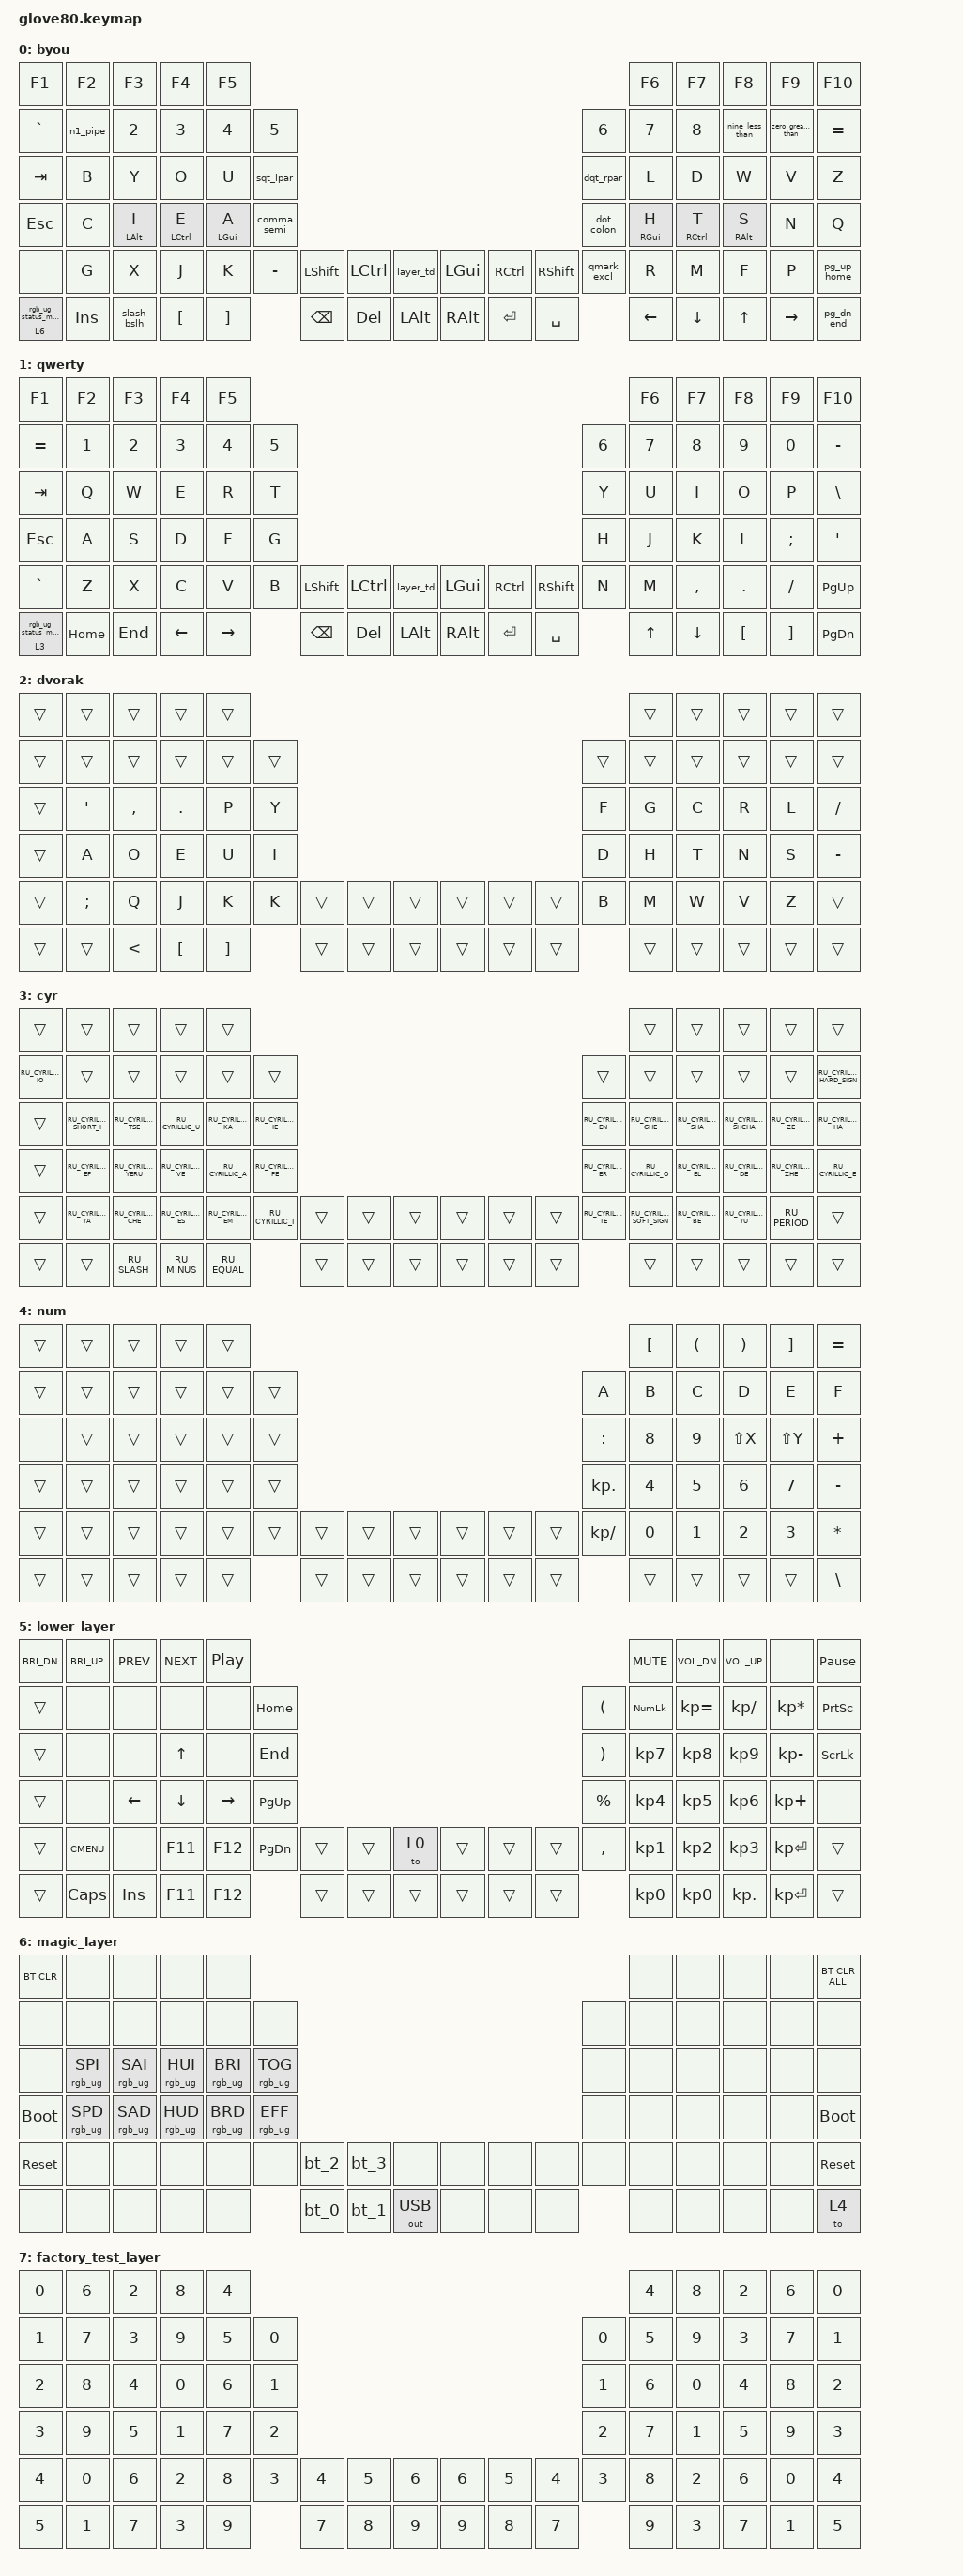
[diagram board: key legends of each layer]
/*
 * Copyright (c) 2020 The ZMK Contributors
 *
 * SPDX-License-Identifier: MIT
 */

#include <behaviors.dtsi>
#include <dt-bindings/zmk/bt.h>
#include <dt-bindings/zmk/keys.h>
#include <dt-bindings/zmk/outputs.h>
#include <dt-bindings/zmk/rgb.h>
#include "zmk-helpers/helper.h"

#include <behaviors/num_word.dtsi>
// Source desired key-position labels
#include "zmk-helpers/key-labels/glove80.h"
// Source unicode-chars for currency and desired languages
#include "zmk-helpers/unicode-chars/currency.dtsi"
#include "zmk-helpers/unicode-chars/german.dtsi"
#include "keys_ru.h"
#include "zmk-helpers/unicode-chars/swedish.dtsi"

#define HYPER LC(LS(LG(LALT)))

// layers

#define BYOU 0
#define QWERTY 1
#define DVORAK 2
#define CYR 3
#define NUM 4
#define LOWER 5
#define MAGIC 6
#define FACTORY_TEST 7

/ {
    behaviors {
        // Define auto-layer for layer CYR (example: NUM layer)
        lang_word: auto_layer {
          compatible = "zmk,behavior-auto-layer";
          #binding-cells = <1>;
          continue-list = <LEFT DOWN UP RIGHT PG_DN PG_UP>;
          ignore-modifiers;
        };

        // Step 1: Tap-Dance for Single vs Double Tap
        td_layers: tap_dance_layers {
            compatible = "zmk,behavior-tap-dance";
            #binding-cells = <0>;
            tapping-term-ms = <200>;
            bindings = <&tog CYR>, <&lang_word>; // 1: Toggle, 2: Auto-Layer
        };

        // Step 2: Hold-Tap to wrap everything
        layer: combined_behavior {
            compatible = "zmk,behavior-hold-tap";
            #binding-cells = <2>;
            flavor = "tap-preferred";
            tapping-term-ms = <200>;
            bindings = <&num_word>, <&td_layers>; // Hold: Num Word, Tap: Tap-Dance
        };

        // For the "layer" key, it'd nice to be able to use it as either a shift or a toggle.
        // Configure it as a tap dance, so the first tap (or hold) is a &mo and the second tap is a &to
        layer_td: tap_dance_0 {
            compatible = "zmk,behavior-tap-dance";
            label = "LAYER_TAP_DANCE";
            #binding-cells = <0>;
            tapping-term-ms = <200>;
            bindings = <&mo LOWER>, <&to LOWER>;
        };

        magic: magic_hold_tap {
            compatible = "zmk,behavior-hold-tap";
            label = "MAGIC_HOLD_TAP";
            #binding-cells = <2>;
            flavor = "tap-preferred";
            tapping-term-ms = <200>;
            bindings = <&mo>, <&rgb_ug_status_macro>;
        };

        n1_pipe: n1_pipe {
            compatible = "zmk,behavior-mod-morph";
            label = "N1_PIPE";
            bindings = <&kp N1>, <&kp PIPE>;

            #binding-cells = <0>;
            mods = <(MOD_LSFT|MOD_RSFT)>;
        };

        sqt_lpar: sqt_lpar {
            compatible = "zmk,behavior-mod-morph";
            label = "SQT_LPAR";
            bindings = <&kp SQT>, <&kp LPAR>;

            #binding-cells = <0>;
            mods = <(MOD_LSFT|MOD_RSFT)>;
        };

        comma_semi: comma_semi {
            compatible = "zmk,behavior-mod-morph";
            label = "COMMA_SEMI";
            bindings = <&kp COMMA>, <&kp SEMI>;

            #binding-cells = <0>;
            mods = <(MOD_LSFT|MOD_RSFT)>;
        };

        slash_bslh: slash_bslh {
            compatible = "zmk,behavior-mod-morph";
            label = "SLASH_BSLH";
            bindings = <&kp SLASH>, <&kp BSLH>;

            #binding-cells = <0>;
            mods = <(MOD_LSFT|MOD_RSFT)>;
        };

        nine_less_than: nine_less_than {
            compatible = "zmk,behavior-mod-morph";
            label = "NINE_LESS_THAN";
            bindings = <&kp N9>, <&kp LT>;

            #binding-cells = <0>;
            mods = <(MOD_LSFT|MOD_RSFT)>;
        };

        zero_greater_than: zero_greater_than {
            compatible = "zmk,behavior-mod-morph";
            label = "ZERO_GREATER_THAN";
            bindings = <&kp N0>, <&kp GT>;

            #binding-cells = <0>;
            mods = <(MOD_LSFT|MOD_RSFT)>;
        };

        dqt_rpar: dqt_rpar {
            compatible = "zmk,behavior-mod-morph";
            label = "DQT_RPAR";
            bindings = <&kp DQT>, <&kp RPAR>;

            #binding-cells = <0>;
            mods = <(MOD_LSFT|MOD_RSFT)>;
        };

        dot_colon: dot_colon {
            compatible = "zmk,behavior-mod-morph";
            label = "DOT_COLON";
            bindings = <&kp DOT>, <&kp COLON>;

            #binding-cells = <0>;
            mods = <(MOD_LSFT|MOD_RSFT)>;
        };

        qmark_excl: qmark_excl {
            compatible = "zmk,behavior-mod-morph";
            label = "QMARK_EXCL";
            bindings = <&kp QUESTION>, <&kp EXCL>;

            #binding-cells = <0>;
            mods = <(MOD_LSFT|MOD_RSFT)>;
        };

        pg_up_home: pg_up_home {
            compatible = "zmk,behavior-mod-morph";
            label = "PG_UP_HOME";
            bindings = <&kp PG_UP>, <&kp HOME>;

            #binding-cells = <0>;
            mods = <(MOD_LSFT|MOD_RSFT)>;
        };

        pg_dn_end: pg_dn_end {
            compatible = "zmk,behavior-mod-morph";
            label = "PG_DN_END";
            bindings = <&kp PG_DN>, <&kp END>;

            #binding-cells = <0>;
            mods = <(MOD_LSFT|MOD_RSFT)>;
        };

        hr: hr {
            compatible = "zmk,behavior-hold-tap";
            label = "HR";
            bindings = <&kp>, <&kp>;

            #binding-cells = <2>;
            tapping-term-ms = <200>;
            hold-trigger-key-positions = <32>;
        };
    };

    macros {
        rgb_ug_status_macro: rgb_ug_status_macro_0 {
            label = "RGB_UG_STATUS";
            compatible = "zmk,behavior-macro";
            #binding-cells = <0>;
            bindings = <&rgb_ug RGB_STATUS>;
        };

        bt_0: bt_profile_macro_0 {
            label = "BT_0";
            compatible = "zmk,behavior-macro";
            #binding-cells = <0>;
            bindings = <&out OUT_BLE &bt BT_SEL 0>;
        };

        bt_1: bt_profile_macro_1 {
            label = "BT_1";
            compatible = "zmk,behavior-macro";
            #binding-cells = <0>;
            bindings = <&out OUT_BLE &bt BT_SEL 1>;
        };

        bt_2: bt_profile_macro_2 {
            label = "BT_2";
            compatible = "zmk,behavior-macro";
            #binding-cells = <0>;
            bindings = <&out OUT_BLE &bt BT_SEL 2>;
        };

        bt_3: bt_profile_macro_3 {
            label = "BT_3";
            compatible = "zmk,behavior-macro";
            #binding-cells = <0>;
            bindings = <&out OUT_BLE &bt BT_SEL 3>;
        };

        startx: startx {
            compatible = "zmk,behavior-macro";
            #binding-cells = <0>;
            bindings =
                <&kp RG(GRAVE) &kp G &kp R &kp Y &kp F &kp F &kp ENTER>,
                <&macro_wait_time 1000>,
                <&kp LS(P) &kp LS(A) &kp N &kp N9 &kp N8 &kp I &kp N2 &kp N1 &kp ENTER>,
                <&macro_wait_time 500>,
                <&kp K &kp C &kp H &kp A &kp D &kp D &kp ENTER>,
                <&macro_wait_time 2000>,
                <&kp LS(W) &kp E &kp SPACE &kp D &kp R &kp I &kp N &kp K &kp SPACE &kp A &kp SPACE &kp T &kp E &kp A &kp ENTER>,
                <&macro_wait_time 500>,
                <&kp S &kp T &kp A &kp R &kp T &kp X &kp ENTER>;

            label = "STARTX";
        };
    };

    combos {
        compatible = "zmk,combos";

        combo_ruble {
            bindings = <&mt RA(N4) RU_RUBLE>;
            key-positions = <14>;
        };

//        combo_euro {
//            bindings = <&mt RC(N4) CURR_EURO>;
//            key-positions = <14>;
//        };
    };

    keymap {
        compatible = "zmk,keymap";

        byou {
            // ---------------------------------------------------------------------------------------------------------------------------------
            // |  F1   |  F2 |  F3 |  F4  |  F5  |                                                               |  F6   |  F7   |  F8  |   F9  |  F10 |
            // |  =    |  1  |  2  |  3   |  4   |  5   |                                                 |  6   |   7   |   8   |  9   |   0   |   -  |
            // |  TAB  |  Q  |  W  |  E   |  R   |  T   |                                                 |  Y   |   U   |   I   |  O   |   P   |   \  |
            // |  ESC  |  A  |  S  |  D   |  F   |  G   |                                                 |  H   |   J   |   K   |  L   |   ;   |   '  |
            // |   `   |  Z  |  X  |  C   |  V   |  B   | LSHFT | LCTRL | LOWER | | LGUI  | RCTRL | RSHFT |  N   |   M   |   ,   |  .   |   /   | PGUP |
            // | MAGIC | HOME| END | LEFT | RIGHT|      | BSPC  | DEL   | LALT  | | RALT  | RET   | SPACE |      |  UP   | DOWN  |  [   |   ]   | PGDN |

            bindings = <
&kp F1      &kp F2    &kp F3          &kp F4            &kp F5                                                                                                          &kp F6           &kp F7       &kp F8           &kp F9              &kp F10
&kp GRAVE   &n1_pipe  &kp N2          &kp N3            &kp N4             &kp N5                                                                          &kp N6       &kp N7           &kp N8       &nine_less_than  &zero_greater_than  &kp EQUAL
&kp TAB     &kp B     &kp Y           &kp O             &kp U              &sqt_lpar                                                                       &dqt_rpar    &kp L            &kp D        &kp W            &kp V               &kp Z
&kp ESC     &kp C     &hr LEFT_ALT I  &hr LCTRL E       &hr LEFT_GUI A     &comma_semi                                                                     &dot_colon   &hr RIGHT_GUI H  &hr RCTRL T  &hr RIGHT_ALT S  &kp N               &kp Q
&none       &kp G     &kp X           &kp J             &kp K              &kp MINUS    &kp LSHFT  &kp LCTRL  &layer_td    &kp LGUI  &kp RCTRL  &kp RSHFT  &qmark_excl  &kp R            &kp M        &kp F            &kp P               &pg_up_home
&magic 6 0  &kp INS   &slash_bslh     &kp LEFT_BRACKET  &kp RIGHT_BRACKET               &kp BSPC   &kp DEL    &kp LALT     &kp RALT  &kp RET    &kp SPACE               &kp LEFT_ARROW   &kp DOWN     &kp UP_ARROW     &kp RIGHT_ARROW     &pg_dn_end
            >;
        };

        qwerty {
            bindings = <
&kp F1      &kp F2    &kp F3   &kp F4    &kp F5                                                                                        &kp F6  &kp F7     &kp F8    &kp F9    &kp F10
&kp EQUAL   &kp N1    &kp N2   &kp N3    &kp N4     &kp N5                                                                     &kp N6  &kp N7  &kp N8     &kp N9    &kp N0    &kp MINUS
&kp TAB     &kp Q     &kp W    &kp E     &kp R      &kp T                                                                      &kp Y   &kp U   &kp I      &kp O     &kp P     &kp BSLH
&kp ESC     &kp A     &kp S    &kp D     &kp F      &kp G                                                                      &kp H   &kp J   &kp K      &kp L     &kp SEMI  &kp SQT
&kp GRAVE   &kp Z     &kp X    &kp C     &kp V      &kp B   &kp LSHFT  &kp LCTRL  &layer_td    &kp LGUI  &kp RCTRL  &kp RSHFT  &kp N   &kp M   &kp COMMA  &kp DOT   &kp FSLH  &kp PG_UP
&magic 3 0  &kp HOME  &kp END  &kp LEFT  &kp RIGHT          &kp BSPC   &kp DEL    &kp LALT     &kp RALT  &kp RET    &kp SPACE          &kp UP  &kp DOWN   &kp LBKT  &kp RBKT  &kp PG_DN
            >;
        };

        dvorak {
            bindings = <
&trans  &trans               &trans            &trans            &trans                                                                    &trans    &trans    &trans    &trans    &trans
&trans  &trans               &trans            &trans            &trans    &trans                                                   &trans &trans    &trans    &trans    &trans    &trans
&trans  &kp SINGLE_QUOTE     &kp COMMA         &kp PERIOD        &kp P     &kp Y                                                    &kp F  &kp G     &kp C     &kp R     &kp L     &kp SLASH
&trans  &kp A                &kp O             &kp E             &kp U     &kp I                                                    &kp D  &kp H     &kp T     &kp N     &kp S     &kp MINUS
&trans  &kp SEMICOLON        &kp Q             &kp J             &kp K     &kp K  &trans  &trans  &trans    &trans  &trans  &trans  &kp B  &kp M     &kp W     &kp V     &kp Z     &trans
&trans  &trans               &kp LESS_THAN     &kp LEFT_BRACKET  &kp RBKT         &trans  &trans  &trans    &trans  &trans  &trans         &trans    &trans    &trans    &trans    &trans
            >;
        };

        cyr {
            bindings = <
&trans              &trans                   &trans                &trans              &trans                                                                                                        &trans                     &trans               &trans                 &trans               &trans
&kp RU_CYRILLIC_IO  &trans                   &trans                &trans              &trans              &trans                                                                &trans              &trans                     &trans               &trans                 &trans               &kp RU_CYRILLIC_HARD_SIGN
&trans              &kp RU_CYRILLIC_SHORT_I  &kp RU_CYRILLIC_TSE   &kp RU_CYRILLIC_U   &kp RU_CYRILLIC_KA  &kp RU_CYRILLIC_IE                                                    &kp RU_CYRILLIC_EN  &kp RU_CYRILLIC_GHE        &kp RU_CYRILLIC_SHA  &kp RU_CYRILLIC_SHCHA  &kp RU_CYRILLIC_ZE   &kp RU_CYRILLIC_HA
&trans              &kp RU_CYRILLIC_EF       &kp RU_CYRILLIC_YERU  &kp RU_CYRILLIC_VE  &kp RU_CYRILLIC_A   &kp RU_CYRILLIC_PE                                                    &kp RU_CYRILLIC_ER  &kp RU_CYRILLIC_O          &kp RU_CYRILLIC_EL   &kp RU_CYRILLIC_DE     &kp RU_CYRILLIC_ZHE  &kp RU_CYRILLIC_E
&trans              &kp RU_CYRILLIC_YA       &kp RU_CYRILLIC_CHE   &kp RU_CYRILLIC_ES  &kp RU_CYRILLIC_EM  &kp RU_CYRILLIC_I   &trans  &trans  &trans    &trans  &trans  &trans  &kp RU_CYRILLIC_TE  &kp RU_CYRILLIC_SOFT_SIGN  &kp RU_CYRILLIC_BE   &kp RU_CYRILLIC_YU     &kp RU_PERIOD        &trans
&trans              &trans                   &kp RU_SLASH          &kp RU_MINUS        &kp RU_EQUAL                            &trans  &trans  &trans    &trans  &trans  &trans                      &trans                     &trans               &trans                 &trans               &trans
            >;
        };

        num {
            bindings = <
&trans  &trans  &trans  &trans  &trans                                                                          &kp LEFT_BRACKET  &kp LPAR  &kp RPAR   &kp RBKT   &kp EQUAL
&trans  &trans  &trans  &trans  &trans  &trans                                                    &kp A         &kp B             &kp C     &kp D      &kp E      &kp F
&none   &trans  &trans  &trans  &trans  &trans                                                    &kp COLON     &kp N8            &kp N9    &kp LS(X)  &kp LS(Y)  &kp PLUS
&trans  &trans  &trans  &trans  &trans  &trans                                                    &kp KP_DOT    &kp N4            &kp N5    &kp N6     &kp N7     &kp MINUS
&trans  &trans  &trans  &trans  &trans  &trans  &trans  &trans  &trans    &trans  &trans  &trans  &kp KP_SLASH  &kp N0            &kp N1    &kp N2     &kp N3     &kp ASTRK
&trans  &trans  &trans  &trans  &trans          &trans  &trans  &trans    &trans  &trans  &trans                &trans            &trans    &trans     &trans     &kp BACKSLASH
            >;
        };

        lower_layer {
            bindings = <
&kp C_BRI_DN  &kp C_BRI_UP  &kp C_PREV  &kp C_NEXT  &kp C_PP                                                                           &kp C_MUTE  &kp C_VOL_DN  &kp C_VOL_UP   &none            &kp PAUSE_BREAK
&trans        &none         &none       &none       &none      &kp HOME                                                     &kp LPAR   &kp KP_NUM  &kp KP_EQUAL  &kp KP_DIVIDE  &kp KP_MULTIPLY  &kp PSCRN
&trans        &none         &none       &kp UP      &none      &kp END                                                      &kp RPAR   &kp KP_N7   &kp KP_N8     &kp KP_N9      &kp KP_MINUS     &kp SLCK
&trans        &none         &kp LEFT    &kp DOWN    &kp RIGHT  &kp PG_UP                                                    &kp PRCNT  &kp KP_N4   &kp KP_N5     &kp KP_N6      &kp KP_PLUS      &none
&trans        &kp K_CMENU   &none       &kp F11     &kp F12    &kp PG_DN  &trans  &trans  &to 0     &trans  &trans  &trans  &kp COMMA  &kp KP_N1   &kp KP_N2     &kp KP_N3      &kp KP_ENTER     &trans
&trans        &kp CAPS      &kp INS     &kp F11     &kp F12               &trans  &trans  &trans    &trans  &trans  &trans             &kp KP_N0   &kp KP_N0     &kp KP_DOT     &kp KP_ENTER     &trans
            >;
        };

        magic_layer {
            bindings = <
&bt BT_CLR   &none            &none            &none            &none                                                                                       &none  &none  &none  &none  &bt BT_CLR_ALL
&none        &none            &none            &none            &none            &none                                                               &none  &none  &none  &none  &none  &none
&none        &rgb_ug RGB_SPI  &rgb_ug RGB_SAI  &rgb_ug RGB_HUI  &rgb_ug RGB_BRI  &rgb_ug RGB_TOG                                                     &none  &none  &none  &none  &none  &none
&bootloader  &rgb_ug RGB_SPD  &rgb_ug RGB_SAD  &rgb_ug RGB_HUD  &rgb_ug RGB_BRD  &rgb_ug RGB_EFF                                                     &none  &none  &none  &none  &none  &bootloader
&sys_reset   &none            &none            &none            &none            &none            &bt_2  &bt_3  &none           &none  &none  &none  &none  &none  &none  &none  &none  &sys_reset
&none        &none            &none            &none            &none                             &bt_0  &bt_1  &out OUT_USB    &none  &none  &none         &none  &none  &none  &none  &to 4
            >;
        };

        factory_test_layer {
            bindings = <
&kp N0  &kp N6  &kp N2  &kp N8  &kp N4                                                                    &kp N4  &kp N8  &kp N2  &kp N6  &kp N0
&kp N1  &kp N7  &kp N3  &kp N9  &kp N5  &kp N0                                                    &kp N0  &kp N5  &kp N9  &kp N3  &kp N7  &kp N1
&kp N2  &kp N8  &kp N4  &kp N0  &kp N6  &kp N1                                                    &kp N1  &kp N6  &kp N0  &kp N4  &kp N8  &kp N2
&kp N3  &kp N9  &kp N5  &kp N1  &kp N7  &kp N2                                                    &kp N2  &kp N7  &kp N1  &kp N5  &kp N9  &kp N3
&kp N4  &kp N0  &kp N6  &kp N2  &kp N8  &kp N3  &kp N4  &kp N5  &kp N6    &kp N6  &kp N5  &kp N4  &kp N3  &kp N8  &kp N2  &kp N6  &kp N0  &kp N4
&kp N5  &kp N1  &kp N7  &kp N3  &kp N9          &kp N7  &kp N8  &kp N9    &kp N9  &kp N8  &kp N7          &kp N9  &kp N3  &kp N7  &kp N1  &kp N5
            >;
        };
    };
};
